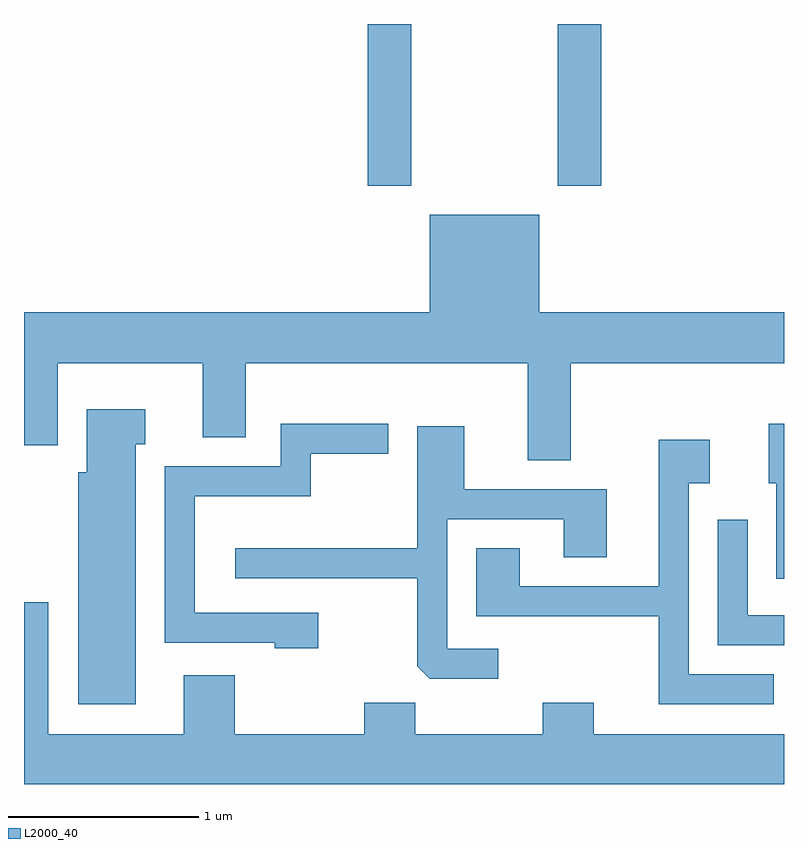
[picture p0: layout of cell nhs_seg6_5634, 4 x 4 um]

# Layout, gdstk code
import gdstk
lib = gdstk.Library(unit=1e-6, precision=1e-09)
def R(c, l, rs):  # rectangles x0, y0, x1, y1
    for r in rs: c.add(gdstk.rectangle(r[:2], r[2:], *l))
def P(c, l, *ps):  # polygons
    for p in ps: c.add(gdstk.Polygon(p, *l))
L2000_40 = (2000, 40)

nhs_seg6_5634 = lib.new_cell('nhs_seg6_5634')
R(nhs_seg6_5634, L2000_40, [(357.421,1655.311,357.649,1656.162), (358.421,1655.311,358.649,1656.162)])
P(nhs_seg6_5634, L2000_40, [(358.489,1654.376),(359.611,1654.376),(359.611,1654.644),(358.324,1654.644),(358.324,1655.159),(357.746,1655.159),(357.746,1654.644),(355.611,1654.644),(355.611,1653.946),(355.789,1653.946),(355.789,1654.376),(356.551,1654.376),(356.551,1653.986),(356.779,1653.986),(356.779,1654.376),(358.261,1654.376),(358.261,1653.866),(358.489,1653.866)],
  [(356.199,1653.951),(356.249,1653.951),(356.249,1654.134),(355.941,1654.134),(355.941,1653.804),(355.896,1653.804),(355.896,1652.581),(356.199,1652.581)],
  [(357.159,1653.064),(356.509,1653.064),(356.509,1653.676),(357.119,1653.676),(357.119,1653.901),(357.528,1653.901),(357.528,1654.059),(356.961,1654.059),(356.961,1653.834),(356.351,1653.834),(356.351,1652.906),(356.931,1652.906),(356.931,1652.876),(357.159,1652.876)],
  [(359.611,1654.059),(359.531,1654.059),(359.531,1653.746),(359.571,1653.746),(359.571,1653.241),(359.611,1653.241)],
  [(358.108,1652.874),(357.839,1652.874),(357.839,1653.556),(358.451,1653.556),(358.451,1653.356),(358.679,1653.356),(358.679,1653.714),(357.929,1653.714),(357.929,1654.044),(357.681,1654.044),(357.681,1653.404),(356.723,1653.404),(356.723,1653.246),(357.681,1653.246),(357.681,1652.782),(357.747,1652.716),(358.108,1652.716)],
  [(359.558,1652.739),(359.109,1652.739),(359.109,1653.746),(359.219,1653.746),(359.219,1653.974),(358.951,1653.974),(358.951,1653.204),(358.219,1653.204),(358.219,1653.404),(357.991,1653.404),(357.991,1653.046),(358.951,1653.046),(358.951,1652.581),(359.558,1652.581)],
  [(359.611,1653.049),(359.419,1653.049),(359.419,1653.553),(359.261,1653.553),(359.261,1652.891),(359.611,1652.891)],
  [(359.611,1652.424),(358.609,1652.424),(358.609,1652.589),(358.341,1652.589),(358.341,1652.424),(357.669,1652.424),(357.669,1652.589),(357.401,1652.589),(357.401,1652.424),(356.719,1652.424),(356.719,1652.734),(356.451,1652.734),(356.451,1652.424),(355.739,1652.424),(355.739,1653.119),(355.611,1653.119),(355.611,1652.162),(359.611,1652.162)])

lib.write_gds('nhs_seg6_5634.gds')
